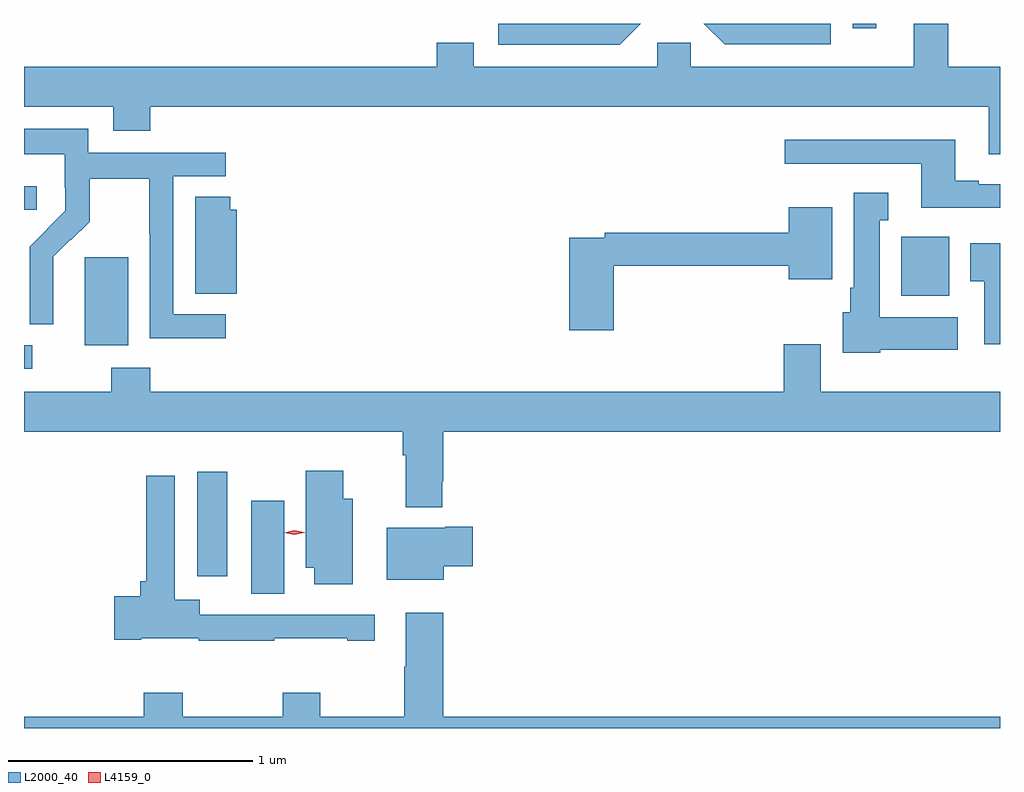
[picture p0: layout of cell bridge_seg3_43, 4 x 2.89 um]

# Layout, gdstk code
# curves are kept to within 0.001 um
import gdstk
lib = gdstk.Library(unit=1e-6, precision=1e-09)
def R(c, l, rs):  # rectangles x0, y0, x1, y1
    for r in rs: c.add(gdstk.rectangle(r[:2], r[2:], *l))
def P(c, l, *ps):  # polygons
    for p in ps: c.add(gdstk.Polygon(p, *l))
L2000_40 = (2000, 40)
L4159_0 = (4159, 0)

bridge_seg3_43 = lib.new_cell('bridge_seg3_43')
R(bridge_seg3_43, L2000_40, [(813.602,666.952,813.736,667.333), (813.38,667.023,813.502,667.453), (812.67,667.875,812.704,667.971), (812.918,667.97,813.097,668.331), (816.266,668.174,816.463,668.416), (812.67,668.526,812.722,668.623), (816.067,669.27,816.163,669.289)])
P(bridge_seg3_43, L2000_40, [(816.67,669.112),(816.457,669.112),(816.457,669.289),(816.317,669.289),(816.317,669.112),(815.403,669.112),(815.403,669.21),(815.265,669.21),(815.265,669.112),(814.513,669.112),(814.513,669.211),(814.361,669.211),(814.361,669.112),(812.67,669.112),(812.67,668.948),(813.035,668.948),(813.035,668.849),(813.188,668.849),(813.188,668.948),(816.623,668.948),(816.623,668.754),(816.67,668.754)],
  [(815.197,669.289),(814.614,669.289),(814.614,669.203),(815.111,669.203)],
  [(815.976,669.289),(815.456,669.289),(815.541,669.204),(815.976,669.204)],
  [(813.496,668.097),(813.282,668.097),(813.282,668.664),(813.496,668.664),(813.496,668.76),(812.934,668.76),(812.934,668.857),(812.67,668.857),(812.67,668.753),(812.838,668.753),(812.838,668.619),(812.84,668.619),(812.84,668.522),(812.694,668.374),(812.694,668.056),(812.79,668.056),(812.789,668.333),(812.859,668.403),(812.862,668.4),(812.939,668.477),(812.939,668.652),(813.184,668.652),(813.184,668.428),(813.186,668.428),(813.186,667.999),(813.496,667.999)],
  [(816.67,668.631),(816.583,668.631),(816.583,668.644),(816.487,668.644),(816.487,668.812),(815.787,668.812),(815.787,668.715),(816.347,668.715),(816.347,668.534),(816.67,668.534)],
  [(816.18,667.952),(816.496,667.952),(816.496,668.086),(816.178,668.086),(816.178,668.483),(816.211,668.483),(816.211,668.596),(816.071,668.596),(816.071,668.206),(816.056,668.206),(816.056,668.106),(816.026,668.106),(816.026,667.94),(816.18,667.94)],
  [(813.542,668.526),(813.515,668.526),(813.515,668.579),(813.371,668.579),(813.371,668.182),(813.542,668.182)],
  [(815.087,668.296),(815.804,668.296),(815.804,668.24),(815.983,668.24),(815.983,668.536),(815.804,668.536),(815.804,668.432),(815.05,668.432),(815.05,668.412),(814.904,668.412),(814.904,668.031),(815.087,668.031)],
  [(816.67,668.389),(816.548,668.389),(816.548,668.233),(816.605,668.233),(816.605,667.974),(816.67,667.974)],
  [(814.384,667.414),(814.388,667.414),(814.388,667.616),(816.67,667.616),(816.67,667.78),(815.935,667.78),(815.935,667.975),(815.783,667.975),(815.783,667.78),(813.188,667.78),(813.188,667.879),(813.028,667.879),(813.028,667.78),(812.67,667.78),(812.67,667.616),(814.223,667.616),(814.223,667.52),(814.235,667.52),(814.235,667.307),(814.384,667.307)],
  [(814.018,667.342),(813.979,667.342),(813.979,667.456),(813.824,667.456),(813.824,667.058),(813.86,667.058),(813.86,666.99),(814.018,666.99)],
  [(813.695,666.769),(813.995,666.769),(813.995,666.759),(814.108,666.759),(814.108,666.867),(813.391,666.867),(813.391,666.928),(813.288,666.928),(813.288,667.435),(813.172,667.435),(813.172,667.003),(813.146,667.003),(813.146,666.941),(813.039,666.941),(813.039,666.763),(813.151,666.763),(813.151,666.77),(813.387,666.77),(813.387,666.759),(813.695,666.759)],
  [(814.39,667.064),(814.51,667.064),(814.51,667.227),(814.397,667.227),(814.397,667.222),(814.157,667.222),(814.157,667.01),(814.39,667.01)],
  [(816.67,666.448),(814.388,666.448),(814.388,666.874),(814.235,666.874),(814.235,666.653),(814.228,666.653),(814.228,666.448),(813.885,666.448),(813.885,666.547),(813.73,666.547),(813.73,666.448),(813.321,666.448),(813.321,666.547),(813.161,666.547),(813.161,666.448),(812.67,666.448),(812.67,666.4),(816.67,666.4)])
P(bridge_seg3_43, L4159_0, [(813.778,667.193),(813.737,667.203),(813.737,667.203),(813.737,667.203),(813.778,667.213),(813.819,667.204),(813.82,667.203),(813.819,667.203)])

lib.write_gds('bridge_seg3_43.gds')
